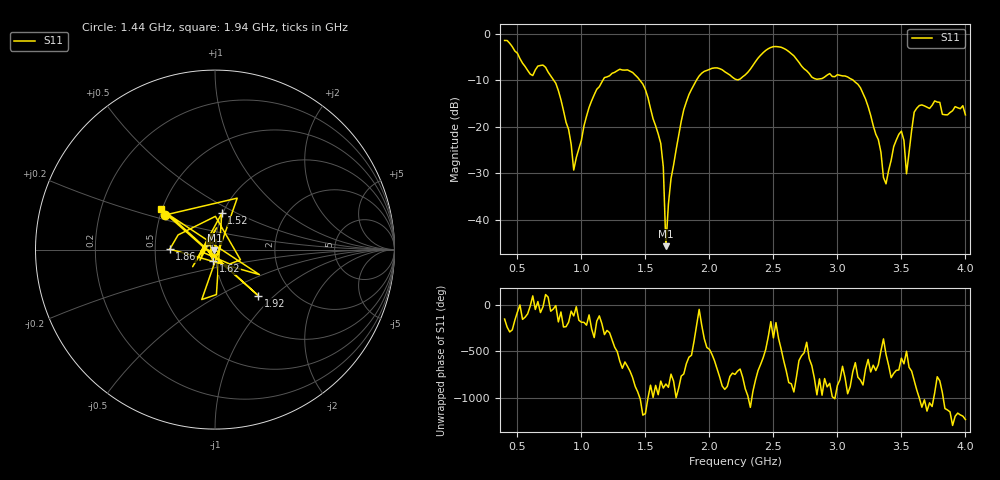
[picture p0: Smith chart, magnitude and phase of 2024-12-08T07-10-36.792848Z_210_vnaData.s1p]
!Created with skrf (http://scikit-rf.org).
# Hz S RI R 50.0
!freq ReS11 ImS11
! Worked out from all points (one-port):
!   181 points, 400 MHz to 4 GHz, reference 50 ohm
!   lowest |S11| = -45.7 dB at 1.66 GHz (marker M1), VSWR 1.01, Z = 49.7 - j0.396 ohm
!   |S11| at or under -10 dB: 784 MHz to 1.168 GHz (384 MHz wide, 39.3 % of centre); 1.457 GHz to 1.899 GHz (441.8 MHz wide, 26.3 % of centre); 3.124 GHz to end of sweep
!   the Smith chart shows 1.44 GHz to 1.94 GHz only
!   S11 on the Smith chart (normalised r, x): 1.44 GHz: 0.53, +0.23; 1.52 GHz: 0.99, +0.42; 1.62 GHz: 0.97, -0.13; 1.86 GHz: 0.60, +0.00; 1.92 GHz: 1.37, -0.80; 1.94 GHz: 0.49, +0.26
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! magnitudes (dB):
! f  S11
! 400 MHz  -1.4
! 720 MHz  -7.2
! 860 MHz  -16.5
! 940 MHz  -29.3
! 1.1 GHz  -13.1
! 1.3 GHz  -7.6
! 1.44 GHz  -9.4
! 1.52 GHz  -13.7
! 1.62 GHz  -23.6
! 1.64 GHz  -28.7
! 1.66 GHz  -45.7
! 1.7 GHz  -31.2
! 1.76 GHz  -21.9
! 1.86 GHz  -12.0
! 1.92 GHz  -9.1
! 1.94 GHz  -8.5
! 2.2 GHz  -9.7
! 2.48 GHz  -2.9
! 2.66 GHz  -4.8
! 3.1 GHz  -9.6
! 3.24 GHz  -15.7
! 3.38 GHz  -32.3
! 3.48 GHz  -21.6
! 3.52 GHz  -23.0
! 3.54 GHz  -30.1
! 3.56 GHz  -25.4
! 3.64 GHz  -15.4
! 4 GHz  -17.5
